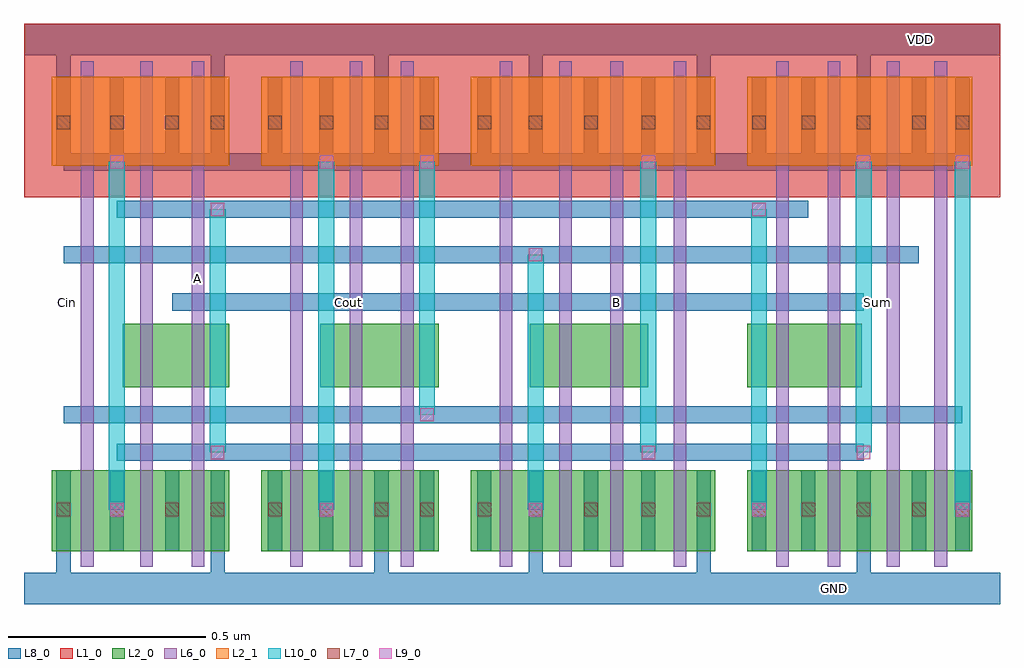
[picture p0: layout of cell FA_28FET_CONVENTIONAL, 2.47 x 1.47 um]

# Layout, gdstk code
import gdstk
lib = gdstk.Library(unit=1e-6, precision=1e-09)
def R(c, l, rs):  # rectangles x0, y0, x1, y1
    for r in rs: c.add(gdstk.rectangle(r[:2], r[2:], *l))
def A(c, l, x, y, w, h, nx, ny, dx, dy):  # array of equal rectangles
    R(c, l, [(x+i*dx, y+j*dy, x+i*dx+w, y+j*dy+h) for i in range(nx) for j in range(ny)])
L1_0 = (1, 0)
L2_0 = (2, 0)
L2_1 = (2, 1)
L6_0 = (6, 0)
L7_0 = (7, 0)
L8_0 = (8, 0)
L9_0 = (9, 0)
L10_0 = (10, 0)

fa_28fet_conventional = lib.new_cell('FA_28FET_CONVENTIONAL')
R(fa_28fet_conventional, L1_0, [(0,1.03,2.47,1.47)])
R(fa_28fet_conventional, L2_0, [(0.07,0.135,0.52,0.34), (0.6,0.135,1.05,0.34), (1.13,0.135,1.75,0.34), (1.83,0.135,2.4,0.34), (0.25,0.55,0.52,0.71), (0.75,0.55,1.05,0.71), (1.28,0.55,1.58,0.71), (1.83,0.55,2.12,0.71)])
R(fa_28fet_conventional, L2_1, [(0.07,1.11,0.52,1.335), (0.6,1.11,1.05,1.335), (1.13,1.11,1.75,1.335), (1.83,1.11,2.4,1.335)])
R(fa_28fet_conventional, L6_0, [(0.144,0.095,0.176,1.375), (0.294,0.095,0.326,1.375), (0.424,0.095,0.456,1.375), (0.674,0.095,0.706,1.375), (0.824,0.095,0.856,1.375), (0.954,0.095,0.986,1.375), (1.204,0.095,1.236,1.375), (1.354,0.095,1.386,1.375), (1.484,0.095,1.516,1.375), (1.644,0.095,1.676,1.375), (1.904,0.095,1.936,1.375), (2.034,0.095,2.066,1.375), (2.184,0.095,2.216,1.375), (2.304,0.095,2.336,1.375)])
A(fa_28fet_conventional, L7_0, 1.563, 0.223, 0.034, 0.034, 3, 2, 0.14, 0.98)
A(fa_28fet_conventional, L7_0, 1.968, 0.223, 0.034, 0.034, 3, 2, 0.14, 0.98)
R(fa_28fet_conventional, L7_0, [(0.083,0.223,0.117,0.257), (0.218,0.223,0.252,0.257), (0.358,0.223,0.392,0.257), (0.473,0.223,0.507,0.257), (0.618,0.223,0.652,0.257), (0.748,0.223,0.782,0.257), (0.888,0.223,0.922,0.257), (1.003,0.223,1.037,0.257), (1.148,0.223,1.182,0.257), (1.278,0.223,1.312,0.257), (1.418,0.223,1.452,0.257), (2.358,0.223,2.392,0.257), (0.083,1.203,0.117,1.237), (0.218,1.203,0.252,1.237), (0.358,1.203,0.392,1.237), (0.473,1.203,0.507,1.237), (0.618,1.203,0.652,1.237), (0.748,1.203,0.782,1.237), (0.888,1.203,0.922,1.237), (1.003,1.203,1.037,1.237), (1.148,1.203,1.182,1.237), (1.278,1.203,1.312,1.237), (1.418,1.203,1.452,1.237), (2.358,1.203,2.392,1.237)])
R(fa_28fet_conventional, L8_0, [(0,0,2.47,0.08), (0.082,0.02,0.118,0.34), (0.472,0.02,0.508,0.34), (0.887,0.02,0.923,0.34), (1.277,0.02,1.313,0.34), (1.702,0.02,1.738,0.34), (2.107,0.02,2.143,0.34), (0.217,0.135,0.253,0.34), (0.357,0.135,0.393,0.34), (0.617,0.135,0.653,0.34), (0.747,0.135,0.783,0.34), (1.002,0.135,1.038,0.34), (1.147,0.135,1.183,0.34), (1.417,0.135,1.453,0.34), (1.562,0.135,1.598,0.34), (1.842,0.135,1.878,0.34), (1.967,0.135,2.003,0.34), (2.247,0.135,2.283,0.34), (2.357,0.135,2.393,0.34), (0.235,0.363,2.125,0.407), (0.1,0.458,2.375,0.502), (0.375,0.743,2.125,0.787), (0.1,0.863,2.265,0.907), (0.235,0.978,1.985,1.022), (0.1,1.098,2.375,1.142), (0.082,1.11,0.118,1.45), (0.217,1.11,0.253,1.335), (0.357,1.11,0.393,1.335), (0.472,1.11,0.508,1.45), (0.617,1.11,0.653,1.335), (0.747,1.11,0.783,1.335), (0.887,1.11,0.923,1.45), (1.002,1.11,1.038,1.335), (1.147,1.11,1.183,1.335), (1.277,1.11,1.313,1.45), (1.417,1.11,1.453,1.335), (1.562,1.11,1.598,1.335), (1.702,1.11,1.738,1.45), (1.842,1.11,1.878,1.335), (1.967,1.11,2.003,1.335), (2.107,1.11,2.143,1.45), (2.247,1.11,2.283,1.335), (2.357,1.11,2.393,1.335), (0,1.39,2.47,1.47)])
A(fa_28fet_conventional, L9_0, 0.218, 0.223, 0.034, 0.034, 3, 1, 0.53, 0)
R(fa_28fet_conventional, L9_0, [(1.843,0.223,1.877,0.257), (2.358,0.223,2.392,0.257), (0.473,0.368,0.507,0.402), (1.563,0.368,1.597,0.402), (2.108,0.368,2.142,0.402), (1.003,0.463,1.037,0.497), (1.278,0.868,1.312,0.902), (0.473,0.983,0.507,1.017), (1.843,0.983,1.877,1.017), (0.218,1.103,0.252,1.137), (0.748,1.103,0.782,1.137), (1.003,1.103,1.037,1.137), (1.563,1.103,1.597,1.137), (2.108,1.103,2.142,1.137), (2.358,1.103,2.392,1.137)])
R(fa_28fet_conventional, L10_0, [(0.215,0.24,0.255,1.12), (0.745,0.24,0.785,1.12), (1.275,0.24,1.315,0.885), (1.84,0.24,1.88,1), (2.355,0.24,2.395,1.12), (0.47,0.385,0.51,1), (1.56,0.385,1.6,1.12), (2.105,0.385,2.145,1.12), (1,0.48,1.04,1.12)])
fa_28fet_conventional.add(gdstk.Label('VDD', (2.27,1.43), layer=100, texttype=0))
fa_28fet_conventional.add(gdstk.Label('GND', (2.05,0.04), layer=100, texttype=0))
fa_28fet_conventional.add(gdstk.Label('Cin', (0.11,0.765), layer=100, texttype=0))
fa_28fet_conventional.add(gdstk.Label('A', (0.44,0.825), layer=100, texttype=0))
fa_28fet_conventional.add(gdstk.Label('Cout', (0.82,0.765), layer=100, texttype=0))
fa_28fet_conventional.add(gdstk.Label('B', (1.5,0.765), layer=100, texttype=0))
fa_28fet_conventional.add(gdstk.Label('Sum', (2.16,0.765), layer=100, texttype=0))

lib.write_gds('FA_28FET_CONVENTIONAL.gds')
